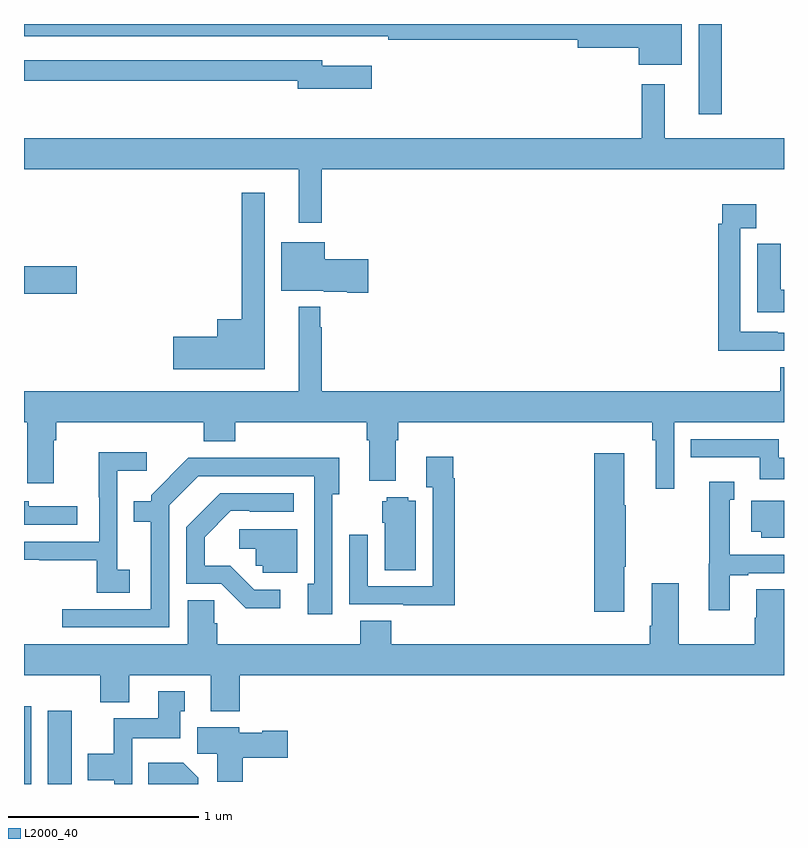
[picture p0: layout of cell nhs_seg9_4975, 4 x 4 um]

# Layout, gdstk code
import gdstk
lib = gdstk.Library(unit=1e-6, precision=1e-09)
def R(c, l, rs):  # rectangles x0, y0, x1, y1
    for r in rs: c.add(gdstk.rectangle(r[:2], r[2:], *l))
def P(c, l, *ps):  # polygons
    for p in ps: c.add(gdstk.Polygon(p, *l))
L2000_40 = (2000, 40)

nhs_seg9_4975 = lib.new_cell('nhs_seg9_4975')
R(nhs_seg9_4975, L2000_40, [(399,1210.5,399.037,1210.909), (399.125,1210.5,399.25,1210.885), (399,1213.079,399.277,1213.226), (402.551,1214.025,402.673,1214.5)])
P(nhs_seg9_4975, L2000_40, [(402.463,1214.5),(399,1214.5),(399,1214.436),(400.666,1214.436),(400.666,1214.435),(400.918,1214.435),(400.918,1214.416),(401.915,1214.416),(401.915,1214.374),(402.236,1214.374),(402.236,1214.285),(402.463,1214.285)],
  [(400.831,1214.281),(400.57,1214.281),(400.57,1214.31),(399,1214.31),(399,1214.202),(400.442,1214.202),(400.442,1214.159),(400.831,1214.159)],
  [(400.567,1213.736),(403,1213.736),(403,1213.9),(402.373,1213.9),(402.373,1214.182),(402.252,1214.182),(402.252,1213.9),(399,1213.9),(399,1213.736),(400.445,1213.736),(400.445,1213.455),(400.567,1213.455)],
  [(400.267,1213.612),(400.146,1213.612),(400.146,1212.946),(400.016,1212.946),(400.016,1212.854),(399.786,1212.854),(399.786,1212.683),(400.267,1212.683)],
  [(403,1212.876),(402.968,1212.876),(402.968,1212.88),(402.771,1212.88),(402.771,1213.424),(402.854,1213.424),(402.854,1213.552),(402.675,1213.552),(402.675,1213.448),(402.655,1213.448),(402.655,1212.779),(403,1212.779)],
  [(400.813,1213.263),(400.582,1213.263),(400.582,1213.351),(400.355,1213.351),(400.355,1213.097),(400.578,1213.097),(400.578,1213.091),(400.7,1213.091),(400.7,1213.085),(400.813,1213.085)],
  [(403,1213.102),(402.982,1213.102),(402.982,1213.343),(402.86,1213.343),(402.86,1212.982),(403,1212.982)],
  [(402.423,1212.404),(403,1212.404),(403,1212.694),(402.98,1212.694),(402.98,1212.568),(400.567,1212.568),(400.567,1212.905),(400.559,1212.905),(400.559,1213.012),(400.445,1213.012),(400.445,1212.568),(399,1212.568),(399,1212.404),(399.017,1212.404),(399.017,1212.084),(399.157,1212.084),(399.157,1212.308),(399.17,1212.308),(399.17,1212.404),(399.947,1212.404),(399.947,1212.305),(400.112,1212.305),(400.112,1212.404),(400.805,1212.404),(400.805,1212.308),(400.817,1212.308),(400.817,1212.095),(400.957,1212.095),(400.957,1212.308),(400.97,1212.308),(400.97,1212.404),(402.307,1212.404),(402.307,1212.308),(402.326,1212.308),(402.326,1212.054),(402.423,1212.054)],
  [(403,1212.216),(402.972,1212.216),(402.972,1212.315),(402.508,1212.315),(402.508,1212.219),(402.872,1212.219),(402.872,1212.104),(403,1212.104)],
  [(399.556,1211.628),(399.492,1211.628),(399.492,1212.149),(399.646,1212.149),(399.646,1212.247),(399.394,1212.247),(399.394,1212.008),(399.396,1212.008),(399.396,1211.775),(399,1211.775),(399,1211.679),(399.079,1211.679),(399.079,1211.677),(399.384,1211.677),(399.384,1211.506),(399.556,1211.506)],
  [(402.16,1211.644),(402.168,1211.644),(402.168,1211.966),(402.16,1211.966),(402.16,1212.241),(402.002,1212.241),(402.002,1211.406),(402.16,1211.406)],
  [(401.267,1212.11),(401.26,1212.11),(401.26,1212.223),(401.117,1212.223),(401.117,1212.062),(401.151,1212.062),(401.151,1211.541),(400.809,1211.541),(400.809,1211.812),(400.713,1211.812),(400.713,1211.445),(400.997,1211.445),(400.997,1211.441),(401.267,1211.441)],
  [(399.765,1211.967),(399.918,1212.12),(400.527,1212.12),(400.527,1211.554),(400.493,1211.554),(400.493,1211.394),(400.623,1211.394),(400.623,1212.026),(400.66,1212.026),(400.66,1212.218),(400.195,1212.218),(400.195,1212.216),(399.864,1212.216),(399.669,1212.021),(399.669,1211.989),(399.577,1211.989),(399.577,1211.88),(399.668,1211.88),(399.668,1211.421),(399.201,1211.421),(399.201,1211.325),(399.765,1211.325)],
  [(402.715,1211.598),(402.811,1211.598),(402.811,1211.61),(403,1211.61),(403,1211.706),(402.714,1211.706),(402.714,1211.997),(402.739,1211.997),(402.739,1212.091),(402.606,1212.091),(402.606,1211.659),(402.605,1211.659),(402.605,1211.415),(402.715,1211.415)],
  [(400.348,1211.523),(400.212,1211.523),(400.085,1211.65),(399.952,1211.65),(399.952,1211.8),(400.089,1211.937),(400.189,1211.937),(400.189,1211.934),(400.42,1211.934),(400.42,1212.03),(400.034,1212.03),(399.855,1211.851),(399.855,1211.553),(400.038,1211.553),(400.166,1211.426),(400.348,1211.426)],
  [(401.062,1211.992),(401.022,1211.992),(401.022,1212.01),(400.908,1212.01),(400.908,1211.988),(400.886,1211.988),(400.886,1211.874),(400.898,1211.874),(400.898,1211.626),(401.062,1211.626)],
  [(403,1211.992),(402.827,1211.992),(402.827,1211.828),(402.881,1211.828),(402.881,1211.795),(403,1211.795)],
  [(399.28,1211.961),(399.024,1211.961),(399.024,1211.988),(399,1211.988),(399,1211.865),(399.28,1211.865)],
  [(400.438,1211.841),(400.134,1211.841),(400.134,1211.738),(400.221,1211.738),(400.221,1211.649),(400.257,1211.649),(400.257,1211.613),(400.438,1211.613)],
  [(400.136,1211.072),(403,1211.072),(403,1211.525),(402.854,1211.525),(402.854,1211.375),(402.847,1211.375),(402.847,1211.236),(402.445,1211.236),(402.445,1211.557),(402.305,1211.557),(402.305,1211.332),(402.293,1211.332),(402.293,1211.236),(400.934,1211.236),(400.934,1211.36),(400.769,1211.36),(400.769,1211.236),(400.016,1211.236),(400.016,1211.346),(400.001,1211.346),(400.001,1211.468),(399.863,1211.468),(399.863,1211.236),(399,1211.236),(399,1211.072),(399.401,1211.072),(399.401,1210.931),(399.553,1210.931),(399.553,1211.072),(399.983,1211.072),(399.983,1210.883),(400.136,1210.883)],
  [(399.57,1210.742),(399.823,1210.742),(399.823,1210.884),(399.847,1210.884),(399.847,1210.987),(399.707,1210.987),(399.707,1210.846),(399.472,1210.846),(399.472,1210.66),(399.335,1210.66),(399.335,1210.52),(399.474,1210.52),(399.474,1210.5),(399.57,1210.5)],
  [(400.151,1210.637),(400.387,1210.637),(400.387,1210.779),(400.254,1210.779),(400.254,1210.771),(400.134,1210.771),(400.134,1210.798),(399.911,1210.798),(399.911,1210.66),(400.016,1210.66),(400.016,1210.512),(400.151,1210.512)],
  [(399.916,1210.534),(399.838,1210.612),(399.655,1210.612),(399.655,1210.5),(399.916,1210.5)])

lib.write_gds('nhs_seg9_4975.gds')
